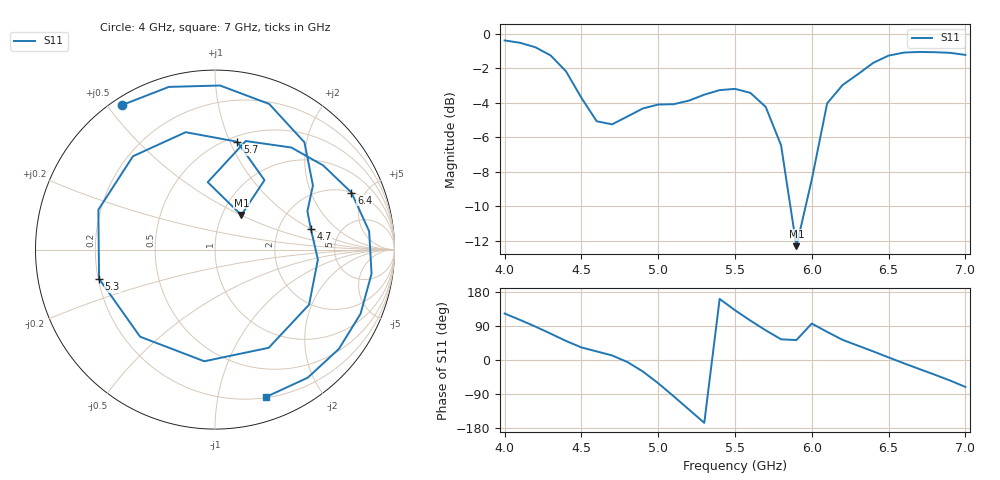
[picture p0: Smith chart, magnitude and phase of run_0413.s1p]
! Touchstone file exported from HFSS 2024.2.0
!  File:  C:/Users/wsak9/Desktop/Sim Fast/Widenad Patch/WP_AI_V1_sweep.aedt
!  Generated:  08:49:41 AM Oct 14, 2026
!  Design:  A1_model
!  Project:  WP_AI_V1_sweep
!  Setup:  Setup1
!  Solution:  Sweep
! Variables:
!  Air_gap = 1.53mm
!  Curve_Amp1 = 2.55
!  Curve_len1 = 1
!  Curve_pos = 10.92mm
!  Extra = 1.69mm
!  H_sub = 0.79mm
!  L_Patch = 17.84mm
!  L_Patch1 = 17.25mm
!  Sx = 3.3mm
!  Sy = 0.51mm
!  WS = 1.08mm
!  W_Patch = 18.01mm
!  W_Patch1 = 15.56mm
!Data is not renormalized
# GHz S MA
! Terminal data exported
! Port[1] = 1
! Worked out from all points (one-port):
!   31 points, 4 GHz to 7 GHz, reference per port
!   lowest |S11| = -12.3 dB at 5.9 GHz (marker M1), VSWR 1.64
!   |S11| at or under -10 dB: 5.86 GHz to 5.96 GHz (99.79 MHz wide, 1.69 % of centre)
!   S11 on the Smith chart (normalised r, x): 4 GHz: 0.03, +0.55; 4.7 GHz: 3.05, +0.99; 5.3 GHz: 0.20, -0.12; 5.7 GHz: 0.55, +1.07; 6.4 GHz: 2.03, +4.01; 7 GHz: 0.21, -1.38
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4  0.957 122.7
4.1  0.9423 105.8
4.2  0.9147 88.3
4.3  0.8657 69.6
4.4  0.7783 50.2
4.5  0.6522 33.2
4.7  0.5463 12.0
4.8  0.5759 -5.5
4.9  0.6074 -30.3
5  0.6236 -61.3
5.1  0.625 -95.5
5.2  0.6401 -130.7
5.3  0.6661 -165.9
5.4  0.6866 161.2
5.5  0.6924 131.3
5.6  0.6742 104.0
5.7  0.6138 78.3
5.8  0.475 54.5
5.9  0.2419 52.7
6  0.3777 96.2
6.1  0.6286 74.2
6.2  0.7102 53.2
6.3  0.7637 37.9
6.4  0.824 22.7
6.5  0.8649 6.8
6.7  0.8863 -23.8
6.9  0.8811 -54.1
7  0.8691 -71.1
